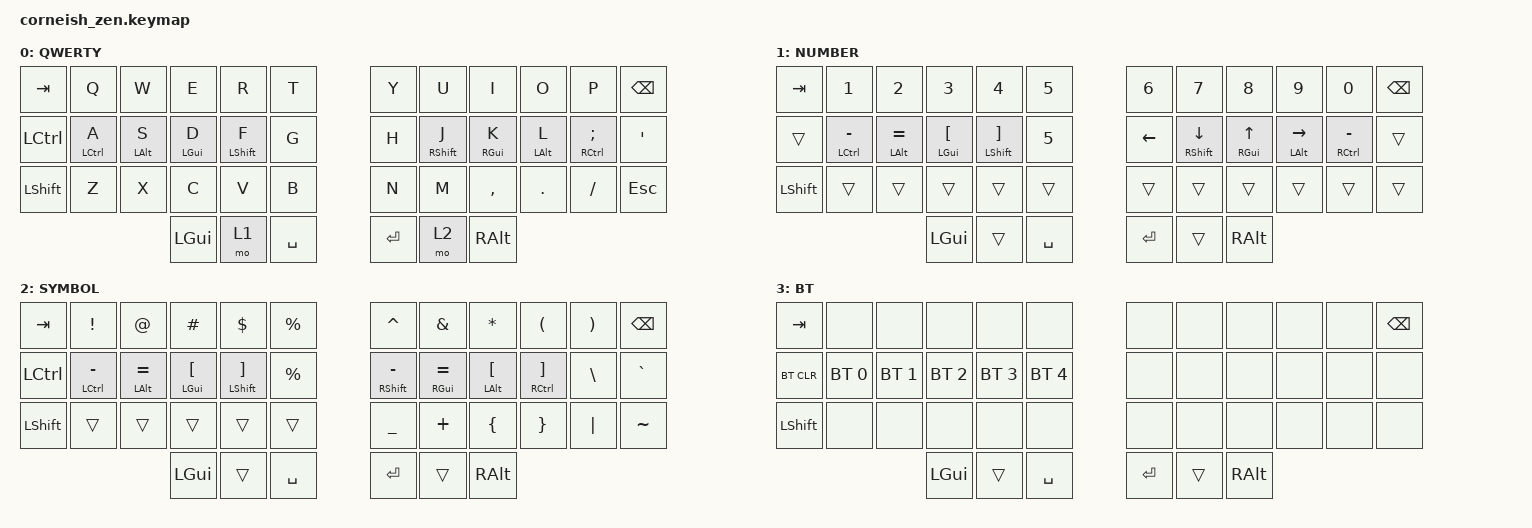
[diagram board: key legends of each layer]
#include <behaviors.dtsi>
#include <dt-bindings/zmk/keys.h>
#include <dt-bindings/zmk/bt.h>

/ {
  behaviors {
    hm: homerow_mods {
      compatible = "zmk,behavior-hold-tap";
      label = "HOMEROW_MODS";
      #binding-cells = <2>;
      tapping-term-ms = <200>;
      quick-tap-ms = <0>;
      flavor = "tap-preferred";
      bindings = <&kp>, <&kp>;
    };
  };

  chosen {
    zmk,matrix_transform = &default_transform;
    //zmk,matrix_transform = &five_column_transform;
  };

  conditional_layers {
    compatible = "zmk,conditional-layers";
    tri_layer {
      if-layers = <1 2>;
      then-layer = <3>;
    };
  };
};

/ {
        keymap {
                compatible = "zmk,keymap";

                default_layer {
                        label = "QWERTY";
// -----------------------------------------------------------------------------------------
// |  TAB |  Q  |  W  |  E  |  R  |  T  |   |  Y  |  U   |  I  |  O  |  P  | BKSP |
// | CTRL | A/C | S/A | D/G | F/S |  G  |   |  H  | J/S  | K/G | L/A | ;/C |  '   |
// | SHFT |  Z  |  X  |  C  |  V  |  B  |   |  N  |  M   |  ,  |  .  |  /  | ESC  |
//                    | GUI | LWR | SPC |   | ENT | RSE  | ALT |
                        bindings = <
   &kp TAB   &kp Q &kp W &kp E &kp R &kp T   &kp Y &kp U  &kp I     &kp O   &kp P    &kp BSPC
   &kp LCTRL &hm LCTRL A &hm LALT S &hm LGUI D &hm LSHFT F &kp G   &kp H &hm RSHFT J  &hm RGUI K  &hm LALT L &hm RCTRL SEMI &kp SQT
   &kp LSHFT &kp Z &kp X &kp C &kp V &kp B   &kp N &kp M  &kp COMMA &kp DOT &kp FSLH &kp ESC
                  &kp LGUI &mo 1 &kp SPACE   &kp RET &mo 2 &kp RALT
                        >;
                };
                lower_layer {
                        label = "NUMBER";
// -----------------------------------------------------------------------------------------
// |  TAB |  1  |  2  |  3  |  4  |  5  |   |  6  |  7  |  8  |  9  |  0  | BKSP |
// | CTRL | -/C | =/A | [/G | ]/S |  5  |   | LFT | D/S | U/G | R/A | -/C |      |
// | SHFT |     |     |     |     |     |   |     |     |     |     |     |      |
//                    | GUI |     | SPC |   | ENT |     | ALT |
                        bindings = <
   &kp TAB    &kp N1       &kp N2       &kp N3       &kp N4       &kp N5         &kp N6   &kp N7   &kp N8 &kp N9    &kp N0 &kp BSPC
   &trans     &hm LCTRL MINUS &hm LALT EQUAL &hm LGUI LBKT &hm LSHFT RBKT &kp N5        &kp LEFT &hm RSHFT DOWN &hm RGUI UP &hm LALT RIGHT &hm RCTRL MINUS &trans
   &kp LSHFT  &trans       &trans       &trans       &trans       &trans         &trans   &trans   &trans &trans    &trans &trans
                          	        &kp LGUI     &trans       &kp SPACE      &kp RET  &trans   &kp RALT
                        >;
                };

                raise_layer {
                        label = "SYMBOL";
// -----------------------------------------------------------------------------------------
// |  TAB |  !  |  @  |  #  |  $  |  %  |   |  ^  |  &  |  *  |  (  |  )  | BKSP |
// | CTRL | -/C | =/A | [/G | ]/S |  %  |   | -/S | =/G | [/A | ]/C |  \  |  `   |
// | SHFT |     |     |     |     |     |   |  _  |  +  |  {  |  }  | "|" |  ~   |
//                    | GUI |     | SPC |   | ENT |     | ALT |
                        bindings = <
   &kp  TAB  &kp EXCL &kp AT &kp HASH &kp DLLR &kp PRCNT   &kp CARET &kp AMPS  &kp STAR &kp LPAR &kp RPAR &kp BSPC
   &kp LCTRL &hm LCTRL MINUS &hm LALT EQUAL &hm LGUI LBKT &hm LSHFT RBKT &kp PRCNT   &hm RSHFT MINUS &hm RGUI EQUAL &hm LALT LBKT &hm RCTRL RBKT &kp BSLH &kp GRAVE
   &kp LSHFT &trans   &trans &trans   &trans   &trans      &kp UNDER &kp PLUS  &kp LBRC &kp RBRC &kp PIPE &kp TILDE
                    	     &kp LGUI &trans   &kp SPACE   &kp RET   &trans    &kp RALT
                        >;
                };

                bluetooth_layer {
                        label = "BT";
// -----------------------------------------------------------------------------------------
// |  TAB |     |     |     |     |     |   |     |     |     |     |     | BKSP |
// | BTCLR| BT1 | BT2 | BT3 | BT4 | BT5 |   |     |     |     |     |     |      |
// | SHFT |     |     |     |     |     |   |     |     |     |     |     |      |
//                    | GUI |     | SPC |   | ENT |     | ALT |
                        bindings = <
   &kp TAB    &none        &none        &none        &none        &none          &none    &none    &none  &none     &none  &kp BSPC
   &bt BT_CLR &bt BT_SEL 0 &bt BT_SEL 1 &bt BT_SEL 2 &bt BT_SEL 3 &bt BT_SEL 4   &none    &none    &none  &none     &none  &none
   &kp LSHFT  &none        &none        &none        &none        &none          &none    &none    &none  &none     &none  &none
                                        &kp LGUI     &trans       &kp SPACE      &kp RET  &trans   &kp RALT
                        >;
                };
        };
};
